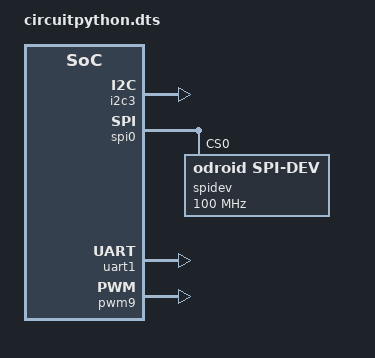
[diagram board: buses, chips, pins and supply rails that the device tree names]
/dts-v1/;
/plugin/;

/ {
	fragment@0 {
		target = <&i2c3>;

		__overlay__ {
			status = "okay";
		};
	};

	fragment@1 {
		target = <&spi0>;

		__overlay__ {
			status = "okay";

			spidev: spidev@0 {
				status = "okay";
				compatible = "odroid,spi-dev";
				reg = <0>;
				spi-max-frequency = <100000000>;
			};
		};
	};

	fragment@2 {
		target = <&uart1>;

		__overlay__ {
			status = "okay";
		};
	};

	fragment@3 {
		target = <&pwm9>;

		__overlay__ {
			status = "okay";
		};
	};
};
